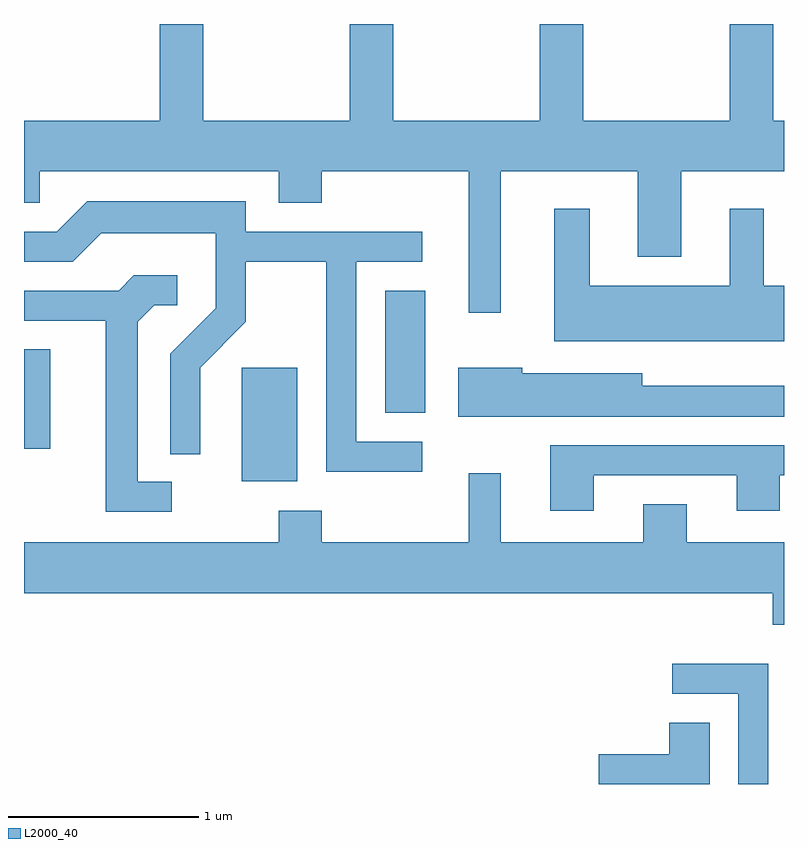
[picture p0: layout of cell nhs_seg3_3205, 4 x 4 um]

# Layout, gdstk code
import gdstk
lib = gdstk.Library(unit=1e-6, precision=1e-09)
def R(c, l, rs):  # rectangles x0, y0, x1, y1
    for r in rs: c.add(gdstk.rectangle(r[:2], r[2:], *l))
def P(c, l, *ps):  # polygons
    for p in ps: c.add(gdstk.Polygon(p, *l))
L2000_40 = (2000, 40)

nhs_seg3_3205 = lib.new_cell('nhs_seg3_3205')
R(nhs_seg3_3205, L2000_40, [(280.756,1135.486,281.049,1136.084), (279.611,1135.656,279.749,1136.179), (281.511,1135.846,281.724,1136.489)])
P(nhs_seg3_3205, L2000_40, [(282.119,1137.116),(282.841,1137.116),(282.841,1136.666),(283.069,1136.666),(283.069,1137.116),(283.611,1137.116),(283.611,1137.384),(283.554,1137.384),(283.554,1137.892),(283.326,1137.892),(283.326,1137.384),(282.554,1137.384),(282.554,1137.892),(282.326,1137.892),(282.326,1137.384),(281.554,1137.384),(281.554,1137.892),(281.326,1137.892),(281.326,1137.384),(280.554,1137.384),(280.554,1137.892),(280.326,1137.892),(280.326,1137.384),(279.611,1137.384),(279.611,1136.951),(279.694,1136.951),(279.694,1137.116),(280.951,1137.116),(280.951,1136.951),(281.179,1136.951),(281.179,1137.116),(281.951,1137.116),(281.951,1136.373),(282.119,1136.373)],
  [(281.708,1135.694),(281.359,1135.694),(281.359,1136.641),(281.708,1136.641),(281.708,1136.799),(280.779,1136.799),(280.779,1136.959),(279.944,1136.959),(279.784,1136.799),(279.611,1136.799),(279.611,1136.641),(279.867,1136.641),(280.017,1136.791),(280.621,1136.791),(280.621,1136.397),(280.381,1136.157),(280.381,1135.628),(280.539,1135.628),(280.539,1136.084),(280.779,1136.324),(280.779,1136.641),(281.201,1136.641),(281.201,1135.536),(281.708,1135.536)],
  [(283.611,1136.514),(283.504,1136.514),(283.504,1136.919),(283.326,1136.919),(283.326,1136.514),(282.589,1136.514),(282.589,1136.919),(282.401,1136.919),(282.401,1136.221),(283.611,1136.221)],
  [(280.388,1135.484),(280.209,1135.484),(280.209,1136.324),(280.297,1136.411),(280.418,1136.411),(280.418,1136.569),(280.189,1136.569),(280.109,1136.489),(279.611,1136.489),(279.611,1136.331),(280.041,1136.331),(280.041,1135.326),(280.388,1135.326)],
  [(283.611,1135.989),(282.864,1135.989),(282.864,1136.054),(282.234,1136.054),(282.234,1136.084),(281.896,1136.084),(281.896,1135.826),(283.611,1135.826)],
  [(282.609,1135.516),(283.361,1135.516),(283.361,1135.331),(283.589,1135.331),(283.589,1135.516),(283.611,1135.516),(283.611,1135.674),(282.381,1135.674),(282.381,1135.331),(282.609,1135.331)],
  [(283.611,1135.164),(283.099,1135.164),(283.099,1135.364),(282.871,1135.364),(282.871,1135.164),(282.119,1135.164),(282.119,1135.528),(281.951,1135.528),(281.951,1135.164),(281.179,1135.164),(281.179,1135.329),(280.951,1135.329),(280.951,1135.164),(279.611,1135.164),(279.611,1134.896),(283.551,1134.896),(283.551,1134.731),(283.611,1134.731)],
  [(283.529,1134.524),(283.023,1134.524),(283.023,1134.366),(283.371,1134.366),(283.371,1133.892),(283.529,1133.892)],
  [(283.219,1134.214),(283.006,1134.214),(283.006,1134.049),(282.636,1134.049),(282.636,1133.892),(283.219,1133.892)])

lib.write_gds('nhs_seg3_3205.gds')
